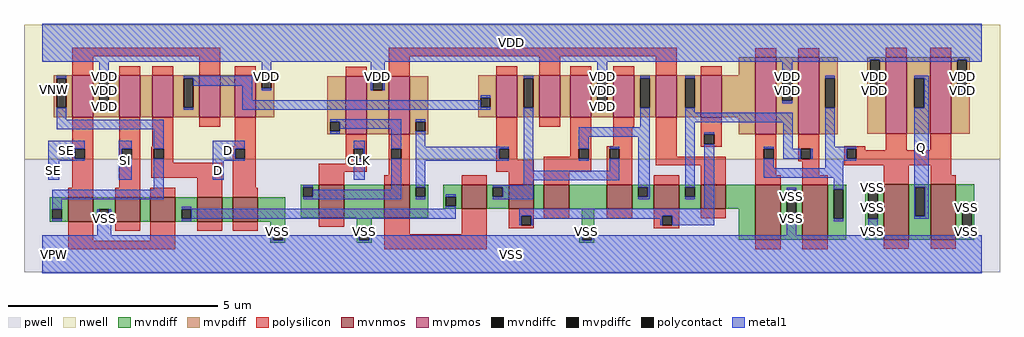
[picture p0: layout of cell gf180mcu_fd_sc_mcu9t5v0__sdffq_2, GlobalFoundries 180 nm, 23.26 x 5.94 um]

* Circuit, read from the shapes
.subckt gf180mcu_fd_sc_mcu9t5v0__sdffq_2 D SE SI CLK Q VDD VNW VPW VSS
XM1 VSS SE n1 VPW nfet_06v0 w=0.58u l=0.6u
XM2 n2 SI VSS VPW nfet_06v0 w=0.58u l=0.6u
XM3 n3 SE n2 VPW nfet_06v0 w=0.58u l=0.6u
XM4 n4 n1 n3 VPW nfet_06v0 w=0.58u l=0.6u
XM5 VSS D n4 VPW nfet_06v0 w=0.58u l=0.6u
XM6 VSS CLK n5 VPW nfet_06v0 w=0.79u l=0.6u
XM7 n6 n5 VSS VPW nfet_06v0 w=0.79u l=0.6u
XM8 n7 n5 n3 VPW nfet_06v0 w=0.58u l=0.6u
XM9 n8 n6 n7 VPW nfet_06v0 w=0.58u l=0.6u
XM10 VSS n9 n8 VPW nfet_06v0 w=0.58u l=0.6u
XM11 n9 n7 VSS VPW nfet_06v0 w=0.58u l=0.6u
XM12 n10 n6 n9 VPW nfet_06v0 w=0.58u l=0.6u
XM13 n11 n5 n10 VPW nfet_06v0 w=0.58u l=0.6u
XM14 VSS n12 n11 VPW nfet_06v0 w=1.32u l=0.6u
XM15 n12 n10 VSS VPW nfet_06v0 w=1.32u l=0.6u
XM16 Q n12 VSS VPW nfet_06v0 w=1.32u l=0.6u m=2
XM17 VDD SE n1 VNW pfet_06v0 w=1u l=0.5u
XM18 n13 SI VDD VNW pfet_06v0 w=1u l=0.5u
XM19 n14 n1 n13 VNW pfet_06v0 w=1u l=0.5u
XM20 n15 SE n14 VNW pfet_06v0 w=1u l=0.5u
XM21 VDD D n15 VNW pfet_06v0 w=1u l=0.5u
XM22 VDD CLK n5 VNW pfet_06v0 w=1.38u l=0.5u
XM23 n6 n5 VDD VNW pfet_06v0 w=1.38u l=0.5u
XM24 n7 n6 n14 VNW pfet_06v0 w=1u l=0.5u
XM25 n16 n5 n7 VNW pfet_06v0 w=1u l=0.5u
XM26 VDD n9 n16 VNW pfet_06v0 w=1u l=0.5u
XM27 n9 n7 VDD VNW pfet_06v0 w=1u l=0.5u
XM28 n10 n5 n9 VNW pfet_06v0 w=1u l=0.5u
XM29 n17 n6 n10 VNW pfet_06v0 w=1u l=0.5u
XM30 VDD n12 n17 VNW pfet_06v0 w=1.83u l=0.5u
XM31 n12 n10 VDD VNW pfet_06v0 w=1.83u l=0.5u
XM32 Q n12 VDD VNW pfet_06v0 w=1.83u l=0.5u m=2
.ends

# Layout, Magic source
magic
tech gf180mcuD
magscale 1 10
<< nwell >>
rect -86 453 4566 1094
<< pwell >>
rect -86 -86 4566 453
<< mvnmos >>
rect 124 156 244 272
rect 348 156 468 272
rect 516 156 636 272
rect 740 156 860 272
rect 908 156 1028 272
rect 1320 174 1440 332
rect 1632 174 1752 332
rect 2000 216 2120 332
rect 2224 216 2344 332
rect 2392 216 2512 332
rect 2692 216 2812 332
rect 2916 216 3036 332
rect 3140 216 3260 332
rect 3400 68 3520 332
rect 3624 68 3744 332
rect 4012 69 4132 333
rect 4236 69 4356 333
<< mvpmos >>
rect 144 652 244 852
rect 368 652 468 852
rect 526 652 626 852
rect 750 652 850 852
rect 918 652 1018 852
rect 1448 573 1548 849
rect 1652 573 1752 849
rect 2166 652 2266 852
rect 2370 652 2470 852
rect 2518 652 2618 852
rect 2722 652 2822 852
rect 2926 652 3026 852
rect 3140 652 3240 852
rect 3400 573 3500 939
rect 3604 573 3704 939
rect 4022 574 4122 940
rect 4233 574 4333 940
<< mvndiff >>
rect 1232 319 1320 332
rect 1232 273 1245 319
rect 1291 273 1320 319
rect 36 215 124 272
rect 36 169 49 215
rect 95 169 124 215
rect 36 156 124 169
rect 244 215 348 272
rect 244 169 273 215
rect 319 169 348 215
rect 244 156 348 169
rect 468 156 516 272
rect 636 215 740 272
rect 636 169 665 215
rect 711 169 740 215
rect 636 156 740 169
rect 860 156 908 272
rect 1028 156 1160 272
rect 1232 174 1320 273
rect 1440 174 1632 332
rect 1752 319 1840 332
rect 1752 273 1781 319
rect 1827 273 1840 319
rect 1752 174 1840 273
rect 1912 275 2000 332
rect 1912 229 1925 275
rect 1971 229 2000 275
rect 1912 216 2000 229
rect 2120 319 2224 332
rect 2120 273 2149 319
rect 2195 273 2224 319
rect 2120 216 2224 273
rect 2344 216 2392 332
rect 2512 216 2692 332
rect 2812 319 2916 332
rect 2812 273 2841 319
rect 2887 273 2916 319
rect 2812 216 2916 273
rect 3036 319 3140 332
rect 3036 273 3065 319
rect 3111 273 3140 319
rect 3036 216 3140 273
rect 3260 216 3400 332
rect 1088 113 1160 156
rect 1088 67 1101 113
rect 1147 67 1160 113
rect 1088 54 1160 67
rect 1500 113 1572 174
rect 1500 67 1513 113
rect 1559 67 1572 113
rect 1500 54 1572 67
rect 2572 126 2632 216
rect 2561 118 2632 126
rect 2561 113 2633 118
rect 2561 67 2574 113
rect 2620 67 2633 113
rect 3320 68 3400 216
rect 3520 307 3624 332
rect 3520 167 3549 307
rect 3595 167 3624 307
rect 3520 68 3624 167
rect 3744 309 3832 332
rect 3744 169 3773 309
rect 3819 169 3832 309
rect 3744 68 3832 169
rect 3924 309 4012 333
rect 3924 169 3937 309
rect 3983 169 4012 309
rect 3924 69 4012 169
rect 4132 320 4236 333
rect 4132 180 4161 320
rect 4207 180 4236 320
rect 4132 69 4236 180
rect 4356 222 4444 333
rect 4356 82 4385 222
rect 4431 82 4444 222
rect 4356 69 4444 82
rect 2561 54 2633 67
<< mvpdiff >>
rect 56 839 144 852
rect 56 699 69 839
rect 115 699 144 839
rect 56 652 144 699
rect 244 839 368 852
rect 244 699 273 839
rect 319 699 368 839
rect 244 652 368 699
rect 468 652 526 852
rect 626 839 750 852
rect 626 699 675 839
rect 721 699 750 839
rect 626 652 750 699
rect 850 652 918 852
rect 1018 838 1106 852
rect 3320 852 3400 939
rect 1018 792 1047 838
rect 1093 792 1106 838
rect 1018 652 1106 792
rect 1360 632 1448 849
rect 1360 586 1373 632
rect 1419 586 1448 632
rect 1360 573 1448 586
rect 1548 827 1652 849
rect 1548 781 1577 827
rect 1623 781 1652 827
rect 1548 573 1652 781
rect 1752 632 1840 849
rect 2078 746 2166 852
rect 2078 700 2091 746
rect 2137 700 2166 746
rect 2078 652 2166 700
rect 2266 839 2370 852
rect 2266 699 2295 839
rect 2341 699 2370 839
rect 2266 652 2370 699
rect 2470 652 2518 852
rect 2618 839 2722 852
rect 2618 699 2647 839
rect 2693 699 2722 839
rect 2618 652 2722 699
rect 2822 839 2926 852
rect 2822 699 2851 839
rect 2897 699 2926 839
rect 2822 652 2926 699
rect 3026 839 3140 852
rect 3026 699 3065 839
rect 3111 699 3140 839
rect 3026 652 3140 699
rect 3240 652 3400 852
rect 1752 586 1781 632
rect 1827 586 1840 632
rect 1752 573 1840 586
rect 3320 573 3400 652
rect 3500 871 3604 939
rect 3500 731 3529 871
rect 3575 731 3604 871
rect 3500 573 3604 731
rect 3704 839 3792 939
rect 3704 699 3733 839
rect 3779 699 3792 839
rect 3704 573 3792 699
rect 3934 927 4022 940
rect 3934 787 3947 927
rect 3993 787 4022 927
rect 3934 574 4022 787
rect 4122 839 4233 940
rect 4122 699 4158 839
rect 4204 699 4233 839
rect 4122 574 4233 699
rect 4333 927 4421 940
rect 4333 787 4362 927
rect 4408 787 4421 927
rect 4333 574 4421 787
<< mvndiffc >>
rect 1245 273 1291 319
rect 49 169 95 215
rect 273 169 319 215
rect 665 169 711 215
rect 1781 273 1827 319
rect 1925 229 1971 275
rect 2149 273 2195 319
rect 2841 273 2887 319
rect 3065 273 3111 319
rect 1101 67 1147 113
rect 1513 67 1559 113
rect 2574 67 2620 113
rect 3549 167 3595 307
rect 3773 169 3819 309
rect 3937 169 3983 309
rect 4161 180 4207 320
rect 4385 82 4431 222
<< mvpdiffc >>
rect 69 699 115 839
rect 273 699 319 839
rect 675 699 721 839
rect 1047 792 1093 838
rect 1373 586 1419 632
rect 1577 781 1623 827
rect 2091 700 2137 746
rect 2295 699 2341 839
rect 2647 699 2693 839
rect 2851 699 2897 839
rect 3065 699 3111 839
rect 1781 586 1827 632
rect 3529 731 3575 871
rect 3733 699 3779 839
rect 3947 787 3993 927
rect 4158 699 4204 839
rect 4362 787 4408 927
<< polysilicon >>
rect 144 944 850 984
rect 144 852 244 944
rect 368 852 468 896
rect 526 852 626 896
rect 750 852 850 944
rect 1652 944 3026 984
rect 918 852 1018 896
rect 1448 849 1548 893
rect 1652 849 1752 944
rect 2166 852 2266 896
rect 2370 852 2470 944
rect 2518 852 2618 896
rect 2722 852 2822 896
rect 2926 852 3026 944
rect 3400 939 3500 983
rect 3604 939 3704 983
rect 4022 940 4122 984
rect 4233 940 4333 984
rect 3140 852 3240 896
rect 144 502 244 652
rect 144 456 157 502
rect 203 456 244 502
rect 144 316 244 456
rect 368 502 468 652
rect 526 513 626 652
rect 750 608 850 652
rect 918 515 1018 652
rect 368 456 381 502
rect 427 456 468 502
rect 368 316 468 456
rect 520 502 626 513
rect 520 456 533 502
rect 579 456 626 502
rect 520 436 626 456
rect 908 502 1018 515
rect 908 456 921 502
rect 967 456 1018 502
rect 520 364 860 436
rect 124 272 244 316
rect 348 272 468 316
rect 516 272 636 316
rect 740 272 860 364
rect 908 316 1018 456
rect 1448 502 1548 573
rect 1448 456 1486 502
rect 1532 456 1548 502
rect 1448 432 1548 456
rect 1320 392 1548 432
rect 1652 502 1752 573
rect 1652 456 1665 502
rect 1711 456 1752 502
rect 1320 332 1440 392
rect 1652 376 1752 456
rect 2166 502 2266 652
rect 2370 608 2470 652
rect 2166 456 2179 502
rect 2225 456 2266 502
rect 2518 502 2618 652
rect 2722 608 2822 652
rect 2722 515 2812 608
rect 2518 464 2559 502
rect 2166 451 2266 456
rect 2392 456 2559 464
rect 2605 456 2618 502
rect 2166 392 2344 451
rect 1632 332 1752 376
rect 2000 332 2120 376
rect 2224 332 2344 392
rect 2392 392 2618 456
rect 2692 502 2812 515
rect 2692 456 2705 502
rect 2751 456 2812 502
rect 2392 332 2512 392
rect 2692 332 2812 456
rect 2926 464 3026 652
rect 3140 571 3240 652
rect 3140 525 3157 571
rect 3203 525 3240 571
rect 3140 512 3240 525
rect 3400 502 3500 573
rect 2926 424 3260 464
rect 2916 332 3036 376
rect 3140 332 3260 424
rect 3400 456 3441 502
rect 3487 456 3500 502
rect 3400 376 3500 456
rect 3604 502 3704 573
rect 3604 456 3617 502
rect 3663 456 3704 502
rect 3604 443 3704 456
rect 3624 376 3704 443
rect 3823 502 3923 515
rect 3823 456 3836 502
rect 3882 496 3923 502
rect 4022 496 4122 574
rect 4233 496 4333 574
rect 3882 456 4333 496
rect 3823 424 4333 456
rect 3400 332 3520 376
rect 3624 332 3744 376
rect 4012 333 4132 424
rect 4236 377 4333 424
rect 4236 333 4356 377
rect 908 272 1028 316
rect 124 64 244 156
rect 348 112 468 156
rect 516 64 636 156
rect 740 112 860 156
rect 908 112 1028 156
rect 1320 130 1440 174
rect 124 24 636 64
rect 1632 96 1752 174
rect 2000 96 2120 216
rect 2224 183 2344 216
rect 2224 137 2285 183
rect 2331 137 2344 183
rect 2392 172 2512 216
rect 2224 124 2344 137
rect 2692 172 2812 216
rect 2916 183 3036 216
rect 1632 24 2120 96
rect 2916 137 2957 183
rect 3003 137 3036 183
rect 3140 172 3260 216
rect 2916 124 3036 137
rect 3400 24 3520 68
rect 3624 24 3744 68
rect 4012 25 4132 69
rect 4236 25 4356 69
<< polycontact >>
rect 157 456 203 502
rect 381 456 427 502
rect 533 456 579 502
rect 921 456 967 502
rect 1486 456 1532 502
rect 1665 456 1711 502
rect 2179 456 2225 502
rect 2559 456 2605 502
rect 2705 456 2751 502
rect 3157 525 3203 571
rect 3441 456 3487 502
rect 3617 456 3663 502
rect 3836 456 3882 502
rect 2285 137 2331 183
rect 2957 137 3003 183
<< metal1 >>
rect 0 927 4480 1098
rect 0 918 3947 927
rect 69 839 115 850
rect 69 642 115 699
rect 273 839 319 918
rect 273 688 319 699
rect 675 839 1001 850
rect 721 804 1001 839
rect 675 688 721 699
rect 955 735 1001 804
rect 1047 838 1093 918
rect 1047 781 1093 792
rect 1566 827 1634 918
rect 1566 781 1577 827
rect 1623 781 1634 827
rect 2295 839 2341 850
rect 2091 746 2137 757
rect 955 700 2091 735
rect 955 689 2137 700
rect 69 596 579 642
rect 30 502 203 542
rect 30 456 157 502
rect 30 445 203 456
rect 366 502 427 542
rect 366 456 381 502
rect 30 354 82 445
rect 366 354 427 456
rect 533 502 579 596
rect 1373 632 1711 643
rect 1419 597 1711 632
rect 1373 575 1419 586
rect 533 308 579 456
rect 814 502 967 542
rect 814 456 921 502
rect 814 445 967 456
rect 1486 502 1538 542
rect 1532 456 1538 502
rect 814 354 866 445
rect 1486 354 1538 456
rect 1665 502 1711 597
rect 49 262 579 308
rect 1245 319 1291 330
rect 1665 308 1711 456
rect 1291 273 1711 308
rect 1245 262 1711 273
rect 1781 632 1827 643
rect 1781 513 1827 586
rect 1781 502 2225 513
rect 1781 456 2179 502
rect 1781 445 2225 456
rect 1781 319 1827 445
rect 2295 399 2341 699
rect 2647 839 2693 918
rect 3529 871 3575 918
rect 2647 688 2693 699
rect 2851 839 2897 850
rect 2851 605 2897 699
rect 2559 559 2897 605
rect 2559 502 2605 559
rect 2559 445 2605 456
rect 2705 502 2751 513
rect 2705 399 2751 456
rect 2295 353 2751 399
rect 2295 330 2341 353
rect 2149 319 2341 330
rect 1781 262 1827 273
rect 1925 275 1971 286
rect 49 215 95 262
rect 2195 273 2341 319
rect 2149 262 2341 273
rect 2841 319 2897 559
rect 2887 273 2897 319
rect 2841 262 2897 273
rect 3065 839 3111 850
rect 3529 720 3575 731
rect 3733 839 3779 850
rect 3065 674 3111 699
rect 3993 918 4362 927
rect 3947 776 3993 787
rect 4158 839 4226 850
rect 3065 628 3579 674
rect 3065 319 3111 628
rect 3065 262 3111 273
rect 3157 571 3203 582
rect 665 216 711 226
rect 1925 216 1971 229
rect 3157 216 3203 525
rect 3441 502 3487 513
rect 3533 502 3579 628
rect 3733 513 3779 699
rect 4204 699 4226 839
rect 4408 918 4480 927
rect 4362 776 4408 787
rect 3733 502 3882 513
rect 3533 456 3617 502
rect 3663 456 3674 502
rect 3733 456 3836 502
rect 3441 410 3487 456
rect 3733 445 3882 456
rect 3733 410 3819 445
rect 3441 364 3819 410
rect 665 215 1971 216
rect 49 158 95 169
rect 262 169 273 215
rect 319 169 330 215
rect 262 90 330 169
rect 711 170 1971 215
rect 2274 183 3203 216
rect 665 158 711 169
rect 2274 137 2285 183
rect 2331 170 2957 183
rect 2331 137 2342 170
rect 2946 137 2957 170
rect 3003 137 3203 183
rect 3549 307 3595 318
rect 1101 113 1147 124
rect 0 67 1101 90
rect 1513 113 1559 124
rect 1147 67 1513 90
rect 2574 113 2620 124
rect 1559 67 2574 90
rect 3549 90 3595 167
rect 3773 309 3819 364
rect 4158 320 4226 699
rect 3773 158 3819 169
rect 3937 309 3983 320
rect 4158 180 4161 320
rect 4207 180 4226 320
rect 4158 169 4226 180
rect 4385 222 4431 233
rect 3937 90 3983 169
rect 2620 82 4385 90
rect 4431 82 4480 90
rect 2620 67 4480 82
rect 0 -90 4480 67
<< labels >>
flabel metal1 s 1486 354 1538 542 0 FreeSans 200 0 0 0 CLK
port 4 nsew clock input
flabel metal1 s 814 445 967 542 0 FreeSans 200 0 0 0 D
port 1 nsew default input
flabel metal1 s 4158 169 4226 850 0 FreeSans 200 0 0 0 Q
port 5 nsew default output
flabel metal1 s 30 445 203 542 0 FreeSans 200 0 0 0 SE
port 2 nsew default input
flabel metal1 s 366 354 427 542 0 FreeSans 200 0 0 0 SI
port 3 nsew default input
flabel metal1 s 0 918 4480 1098 0 FreeSans 200 0 0 0 VDD
port 6 nsew power bidirectional abutment
flabel metal1 s 3937 318 3983 320 0 FreeSans 200 0 0 0 VSS
port 9 nsew ground bidirectional abutment
flabel nwell s 10 734 110 834 0 FreeSans 400 0 0 0 VNW
port 7 nsew power bidirectional
flabel pwell s 10 -50 110 50 0 FreeSans 400 0 0 0 VPW
port 8 nsew ground bidirectional
rlabel metal1 s 814 354 866 445 1 D
port 1 nsew default input
rlabel metal1 s 30 354 82 445 1 SE
port 2 nsew default input
rlabel metal1 s 4362 781 4408 918 1 VDD
port 6 nsew power bidirectional abutment
rlabel metal1 s 3947 781 3993 918 1 VDD
port 6 nsew power bidirectional abutment
rlabel metal1 s 3529 781 3575 918 1 VDD
port 6 nsew power bidirectional abutment
rlabel metal1 s 2647 781 2693 918 1 VDD
port 6 nsew power bidirectional abutment
rlabel metal1 s 1566 781 1634 918 1 VDD
port 6 nsew power bidirectional abutment
rlabel metal1 s 1047 781 1093 918 1 VDD
port 6 nsew power bidirectional abutment
rlabel metal1 s 273 781 319 918 1 VDD
port 6 nsew power bidirectional abutment
rlabel metal1 s 4362 776 4408 781 1 VDD
port 6 nsew power bidirectional abutment
rlabel metal1 s 3947 776 3993 781 1 VDD
port 6 nsew power bidirectional abutment
rlabel metal1 s 3529 776 3575 781 1 VDD
port 6 nsew power bidirectional abutment
rlabel metal1 s 2647 776 2693 781 1 VDD
port 6 nsew power bidirectional abutment
rlabel metal1 s 273 776 319 781 1 VDD
port 6 nsew power bidirectional abutment
rlabel metal1 s 3529 720 3575 776 1 VDD
port 6 nsew power bidirectional abutment
rlabel metal1 s 2647 720 2693 776 1 VDD
port 6 nsew power bidirectional abutment
rlabel metal1 s 273 720 319 776 1 VDD
port 6 nsew power bidirectional abutment
rlabel metal1 s 2647 688 2693 720 1 VDD
port 6 nsew power bidirectional abutment
rlabel metal1 s 273 688 319 720 1 VDD
port 6 nsew power bidirectional abutment
rlabel metal1 s 3937 233 3983 318 1 VSS
port 9 nsew ground bidirectional abutment
rlabel metal1 s 3549 233 3595 318 1 VSS
port 9 nsew ground bidirectional abutment
rlabel metal1 s 4385 215 4431 233 1 VSS
port 9 nsew ground bidirectional abutment
rlabel metal1 s 3937 215 3983 233 1 VSS
port 9 nsew ground bidirectional abutment
rlabel metal1 s 3549 215 3595 233 1 VSS
port 9 nsew ground bidirectional abutment
rlabel metal1 s 4385 124 4431 215 1 VSS
port 9 nsew ground bidirectional abutment
rlabel metal1 s 3937 124 3983 215 1 VSS
port 9 nsew ground bidirectional abutment
rlabel metal1 s 3549 124 3595 215 1 VSS
port 9 nsew ground bidirectional abutment
rlabel metal1 s 262 124 330 215 1 VSS
port 9 nsew ground bidirectional abutment
rlabel metal1 s 4385 90 4431 124 1 VSS
port 9 nsew ground bidirectional abutment
rlabel metal1 s 3937 90 3983 124 1 VSS
port 9 nsew ground bidirectional abutment
rlabel metal1 s 3549 90 3595 124 1 VSS
port 9 nsew ground bidirectional abutment
rlabel metal1 s 2574 90 2620 124 1 VSS
port 9 nsew ground bidirectional abutment
rlabel metal1 s 1513 90 1559 124 1 VSS
port 9 nsew ground bidirectional abutment
rlabel metal1 s 1101 90 1147 124 1 VSS
port 9 nsew ground bidirectional abutment
rlabel metal1 s 262 90 330 124 1 VSS
port 9 nsew ground bidirectional abutment
rlabel metal1 s 0 -90 4480 90 1 VSS
port 9 nsew ground bidirectional abutment
<< properties >>
string FIXED_BBOX 0 0 4480 1008
string GDS_END 322628
string GDS_FILE $PDKPATH/libs.ref/gf180mcu_fd_sc_mcu9t5v0/gds/gf180mcu_fd_sc_mcu9t5v0.gds
string GDS_START 312722
string LEFclass core
string LEFsite GF018hv5v_green_sc9
string LEFsymmetry X Y
<< end >>
